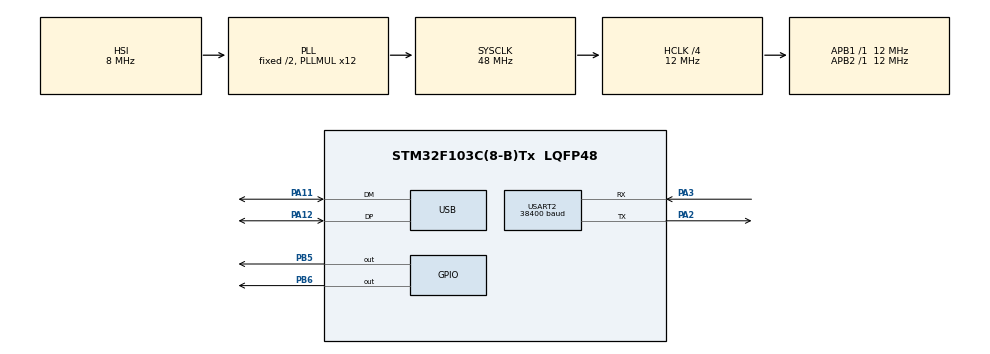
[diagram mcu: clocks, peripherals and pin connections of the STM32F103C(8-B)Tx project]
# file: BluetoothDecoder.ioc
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Mcu.Family=STM32F1
RCC.PLLSourceVirtual=RCC_PLLSOURCE_HSI_DIV2
USB_DEVICE.CLASS_NAME_FS=CDC
USB_DEVICE.VirtualModeFS=Cdc_FS
PA11.Mode=Device
NVIC.USART2_IRQn=true\:0\:0\:false\:false\:true\:true\:true
USART2.BaudRate=38400
RCC.SYSCLKSource=RCC_SYSCLKSOURCE_PLLCLK
ProjectManager.StackSize=0x400
RCC.PLLSource=RCC_PLLSOURCE_HSI_DIV2
PA13.Signal=SYS_JTMS-SWDIO
PA3.Mode=Asynchronous
PA12.Signal=USB_DP
ProjectManager.TargetToolchain=SW4STM32
RCC.HCLKFreq_Value=12000000
VP_USB_DEVICE_VS_USB_DEVICE_CDC_FS.Mode=CDC_FS
RCC.APB2TimFreq_Value=12000000
PB6.Signal=GPIO_Output
PB5.PinState=GPIO_PIN_SET
RCC.USBFreq_Value=48000000
RCC.AHBFreq_Value=12000000
board=custom
RCC.PLLMUL=RCC_PLL_MUL12
RCC.APB2Freq_Value=12000000
PA14.Mode=Serial_Wire
NVIC.USB_LP_CAN1_RX0_IRQn=true\:0\:0\:false\:false\:true\:false\:true
RCC.AHBCLKDivider=RCC_SYSCLK_DIV4
PA13.Mode=Serial_Wire
Mcu.Name=STM32F103C(8-B)Tx
PA2.Signal=USART2_TX
RCC.SYSCLKFreq_VALUE=48000000
Mcu.Package=LQFP48
PB5.Signal=GPIO_Output
PA12.Mode=Device
USART2.VirtualMode=VM_ASYNC
PB6.PinState=GPIO_PIN_SET
PA11.Signal=USB_DM
PA14.Signal=SYS_JTCK-SWCLK
ProjectManager.HeapSize=0x200
NVIC.PriorityGroup=NVIC_PRIORITYGROUP_4
RCC.APB1TimFreq_Value=12000000
PA2.Mode=Asynchronous
RCC.APB1Freq_Value=12000000
USB_DEVICE.VirtualMode=Cdc
PA3.Signal=USART2_RX

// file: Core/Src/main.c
/* USER CODE BEGIN Header */
/**
  ******************************************************************************
  * @file           : main.c
  * @brief          : Main program body
  ******************************************************************************
  * @attention
  *
  * <h2><center>&copy; Copyright (c) 2020 STMicroelectronics.
  * All rights reserved.</center></h2>
  *
  * This software component is licensed by ST under Ultimate Liberty license
  * SLA0044, the "License"; You may not use this file except in compliance with
  * the License. You may obtain a copy of the License at:
  *                             www.st.com/SLA0044
  *
  ******************************************************************************
  */
/* USER CODE END Header */
#include "main.h"
#include "usb_device.h"
#include "usbd_cdc_if.h"

/* USER CODE BEGIN Includes */
#include <string.h>
/* USER CODE END Includes */

UART_HandleTypeDef huart2;

/* USER CODE BEGIN PV */
typedef struct buffer_128 {
    uint8_t string[128];
    uint8_t index;
} buffer_128;

buffer_128 buff = {};
uint8_t byte;
/* USER CODE END PV */

void SystemClock_Config(void);
static void MX_GPIO_Init(void);
static void MX_USART2_UART_Init(void);

/* USER CODE BEGIN 0 */

void decrypt_string(uint8_t *string) {
    for (int i = 0; string[i] != '\0'; ++i) {
        if ((string[i] >= 'A' && string[i] <= 'W')
            || (string[i] >= 'a' && string[i] <= 'w')) {
            string[i] += 3; // смещение на 3 буквы вправо
            continue;
        }
        if ((string[i] >= 'X' && string[i] <= 'Z')
            || (string[i] >= 'x' && string[i] <= 'z')) {
            string[i] -= 23; // смещение на 3 буквы вправо по алфавиту циклично
            continue;
        }
        if (string[i] >= '0' && string[i] <= '6') {
            string[i] += 3;
            continue;
        }
        if (string[i] >= '7' && string[i] <= '9') {
            string[i] -= 7;
            continue;
        }
    }
}

void UART2_RxCpltCallback(void) {
    HAL_GPIO_WritePin(GPIOB, GPIO_PIN_5, GPIO_PIN_RESET);
    buff.string[buff.index++] = byte;
    if (buff.index == 127) {
        buff.string[buff.index] = '\0';
        decrypt_string(buff.string);
        CDC_Transmit_FS(buff.string, strlen((char*)buff.string));
        buff.index = 0;
        HAL_UART_Receive_IT(&huart2, &byte, 1);
        return;
    }

    if (byte == '\n') {
        buff.string[buff.index] = '\0';
        decrypt_string(buff.string);
        CDC_Transmit_FS(buff.string, strlen((char*)buff.string));
        HAL_GPIO_WritePin(GPIOB, GPIO_PIN_5, GPIO_PIN_SET);
        buff.index = 0;
        HAL_UART_Receive_IT(&huart2, &byte, 1);
        return;
    }
    HAL_UART_Receive_IT(&huart2, &byte, 1);
}
/* USER CODE END 0 */

int main(void)
{

  /* MCU Configuration--------------------------------------------------------*/

  /* Reset of all peripherals, Initializes the Flash interface and the Systick. */
  HAL_Init();

  /* Configure the system clock */
  SystemClock_Config();

  /* Initialize all configured peripherals */
  MX_GPIO_Init();
  MX_USART2_UART_Init();
  MX_USB_DEVICE_Init();
  /* USER CODE BEGIN 2 */
  HAL_UART_Receive_IT(&huart2, &byte, 1);
  /* USER CODE END 2 */

  /* Infinite loop */
  while (1)
  {

}
}

void SystemClock_Config(void)
{
  RCC_OscInitTypeDef RCC_OscInitStruct = {0};
  RCC_ClkInitTypeDef RCC_ClkInitStruct = {0};
  RCC_PeriphCLKInitTypeDef PeriphClkInit = {0};

  /** Initializes the RCC Oscillators according to the specified parameters
  * in the RCC_OscInitTypeDef structure.
  */
  RCC_OscInitStruct.OscillatorType = RCC_OSCILLATORTYPE_HSI;
  RCC_OscInitStruct.HSIState = RCC_HSI_ON;
  RCC_OscInitStruct.HSICalibrationValue = RCC_HSICALIBRATION_DEFAULT;
  RCC_OscInitStruct.PLL.PLLState = RCC_PLL_ON;
  RCC_OscInitStruct.PLL.PLLSource = RCC_PLLSOURCE_HSI_DIV2;
  RCC_OscInitStruct.PLL.PLLMUL = RCC_PLL_MUL12;
  if (HAL_RCC_OscConfig(&RCC_OscInitStruct) != HAL_OK)
  {
    Error_Handler();
  }
  /** Initializes the CPU, AHB and APB buses clocks
  */
  RCC_ClkInitStruct.ClockType = RCC_CLOCKTYPE_HCLK|RCC_CLOCKTYPE_SYSCLK
                              |RCC_CLOCKTYPE_PCLK1|RCC_CLOCKTYPE_PCLK2;
  RCC_ClkInitStruct.SYSCLKSource = RCC_SYSCLKSOURCE_PLLCLK;
  RCC_ClkInitStruct.AHBCLKDivider = RCC_SYSCLK_DIV4;
  RCC_ClkInitStruct.APB1CLKDivider = RCC_HCLK_DIV1;
  RCC_ClkInitStruct.APB2CLKDivider = RCC_HCLK_DIV1;

  if (HAL_RCC_ClockConfig(&RCC_ClkInitStruct, FLASH_LATENCY_1) != HAL_OK)
  {
    Error_Handler();
  }
  PeriphClkInit.PeriphClockSelection = RCC_PERIPHCLK_USB;
  PeriphClkInit.UsbClockSelection = RCC_USBCLKSOURCE_PLL;
  if (HAL_RCCEx_PeriphCLKConfig(&PeriphClkInit) != HAL_OK)
  {
    Error_Handler();
  }
}

static void MX_USART2_UART_Init(void)
{

  huart2.Instance = USART2;
  huart2.Init.BaudRate = 38400;
  huart2.Init.WordLength = UART_WORDLENGTH_8B;
  huart2.Init.StopBits = UART_STOPBITS_1;
  huart2.Init.Parity = UART_PARITY_NONE;
  huart2.Init.Mode = UART_MODE_TX_RX;
  huart2.Init.HwFlowCtl = UART_HWCONTROL_NONE;
  huart2.Init.OverSampling = UART_OVERSAMPLING_16;
  if (HAL_UART_Init(&huart2) != HAL_OK)
  {
    Error_Handler();
  }

}

static void MX_GPIO_Init(void)
{
  GPIO_InitTypeDef GPIO_InitStruct = {0};

  /* GPIO Ports Clock Enable */
  __HAL_RCC_GPIOA_CLK_ENABLE();
  __HAL_RCC_GPIOB_CLK_ENABLE();

  /*Configure GPIO pin Output Level */
  HAL_GPIO_WritePin(GPIOB, GPIO_PIN_5|GPIO_PIN_6, GPIO_PIN_SET);

  /*Configure GPIO pins : PB5 PB6 */
  GPIO_InitStruct.Pin = GPIO_PIN_5|GPIO_PIN_6;
  GPIO_InitStruct.Mode = GPIO_MODE_OUTPUT_PP;
  GPIO_InitStruct.Pull = GPIO_NOPULL;
  GPIO_InitStruct.Speed = GPIO_SPEED_FREQ_LOW;
  HAL_GPIO_Init(GPIOB, &GPIO_InitStruct);

}

/* USER CODE BEGIN 4 */
void HAL_UART_RxCpltCallback(UART_HandleTypeDef *huart)
{
    if(huart==&huart2)
    {
        UART2_RxCpltCallback();
    }
}
/* USER CODE END 4 */

void Error_Handler(void)
{
}

/************************ (C) COPYRIGHT STMicroelectronics *****END OF FILE****/
